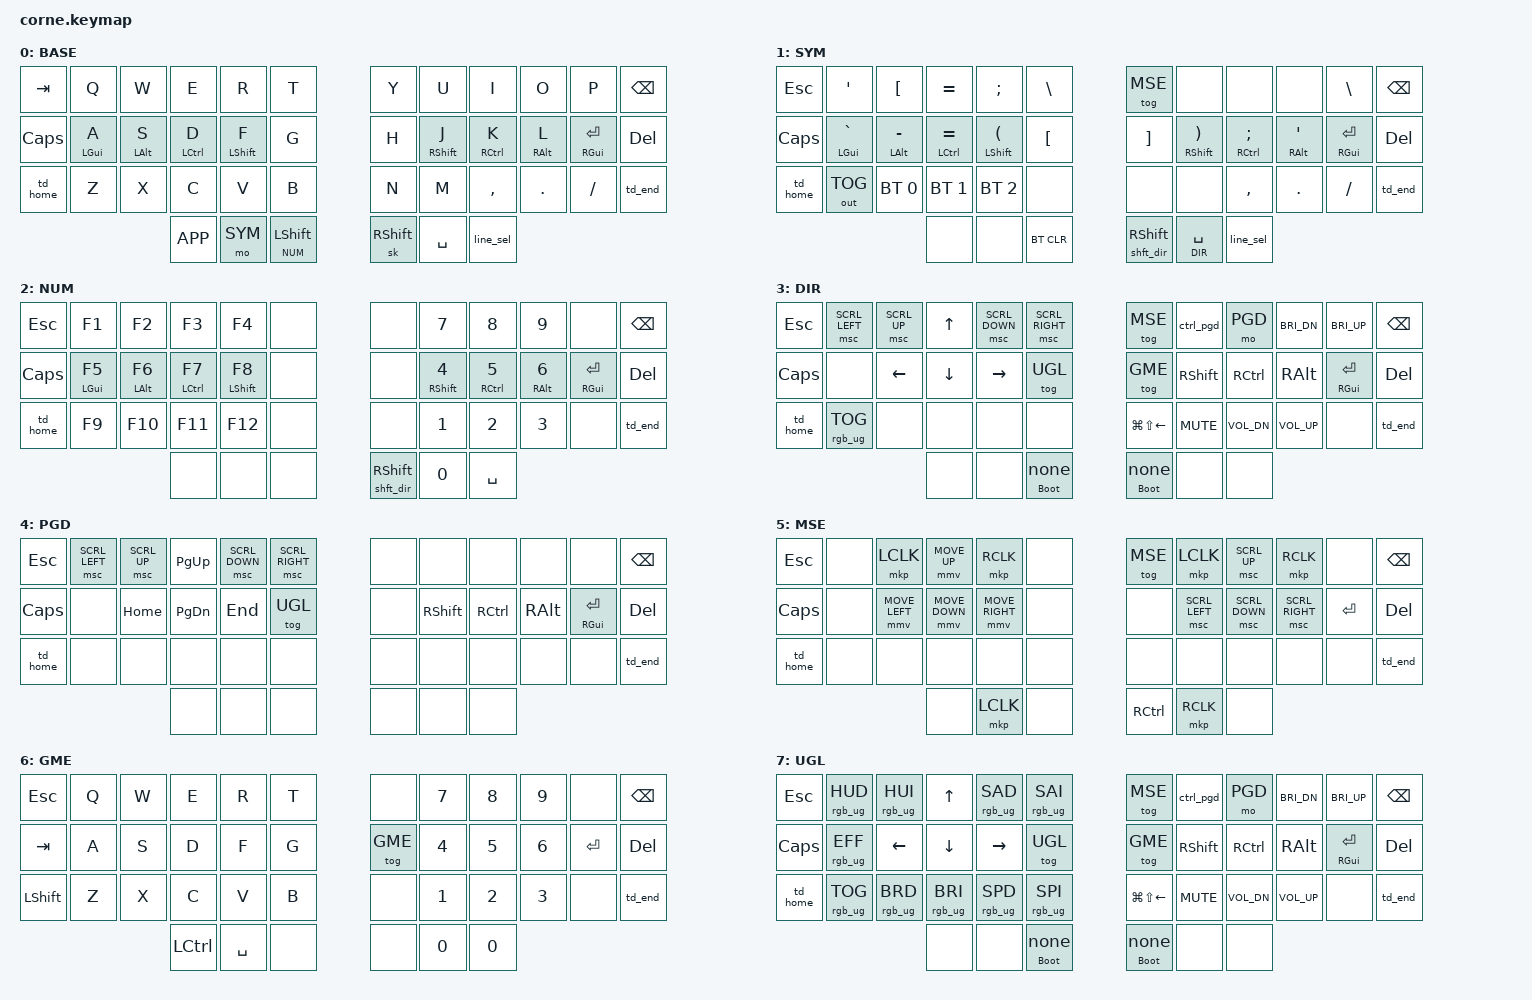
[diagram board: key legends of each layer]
/*
 * Copyright (c) 2020 The ZMK Contributors
 *
 * SPDX-License-Identifier: MIT
 */

#include <behaviors.dtsi>
#include <dt-bindings/zmk/keys.h>
#include <dt-bindings/zmk/bt.h>
#include <dt-bindings/zmk/rgb.h>
#include <dt-bindings/zmk/behaviors.h>
#include <dt-bindings/zmk/outputs.h>
#include <dt-bindings/zmk/ext_power.h>
#include <dt-bindings/zmk/pointing.h>

#define ZMK_POINTING_DEFAULT_MOVE_VAL 750
#define ZMK_POINTING_DEFAULT_SCRL_VAL 20

#define BASE 0 // base alpha layer
#define SYM 1 // symbol layer
#define NUM 2 // number and f-key layer
#define DIR 3 // direction/arrow key layer
#define PGD 4 // page direction layer
#define MSE 5 // mouse layer
#define GME 6 // game layer
#define UGL 7 // underglow layer

&led_strip {
        chain-length = <27>;
};

&mmv {
        x-input-code = <INPUT_REL_X>;
        y-input-code = <INPUT_REL_Y>;
        time-to-max-speed-ms = <750>;
        acceleration-exponent = <1>;
};

&sk {
        quick-release;
};


/ {

        behaviors {
                hml: home_row_mod_left {
                        compatible = "zmk,behavior-hold-tap";
                        #binding-cells = <2>;
                        flavor = "balanced";
                        require-prior-idle-ms = <150>;
                        tapping-term-ms = <280>;
                        quick-tap-ms = <175>;
                        bindings = <&kp>, <&kp>;
                        hold-trigger-key-positions = <6>, <7>, <8>, <9>, <10>, <11>, <18>, <19>, <20>, <21>, <22>, <23>, <30>, <31>, <32>, <33>, <34>, <35>, <36>, <37>, <38>, <39>, <40>, <41>; // List of keys on the right side of the keyboard
                        hold-trigger-on-release;
                };
                hmr: home_row_mod_right {
                        compatible = "zmk,behavior-hold-tap";
                        #binding-cells = <2>;
                        flavor = "balanced";
                        require-prior-idle-ms = <150>;
                        tapping-term-ms = <280>;
                        quick-tap-ms = <175>;
                        bindings = <&kp>, <&kp>;
                        hold-trigger-key-positions = <0>, <1>, <2>, <3>, <4>, <5>, <12>, <13>, <14>, <15>, <16>, <17>, <24>, <25>, <26>, <27>, <28>, <29>, <36>, <37>, <38>, <39>, <40>, <41>; // List of keys on the left side of the keyboard
                        hold-trigger-on-release;
                };
                hml_shift: home_row_mod_left_shift {
                        compatible = "zmk,behavior-hold-tap";
                        #binding-cells = <2>;
                        flavor = "balanced";
                        require-prior-idle-ms = <150>;
                        tapping-term-ms = <200>;
                        //quick-tap-ms = <175>;
                        bindings = <&kp>, <&kp>;
                        hold-trigger-key-positions = <6>, <7>, <8>, <9>, <10>, <11>, <18>, <19>, <20>, <21>, <22>, <23>, <30>, <31>, <32>, <33>, <34>, <35>;//, <36>, <37>, <38>, <39>, <40>, <41>; // List of keys on the right side of the keyboard
                        hold-trigger-on-release;
                };
                hmr_shift: home_row_mod_right_shift {
                        compatible = "zmk,behavior-hold-tap";
                        #binding-cells = <2>;
                        flavor = "balanced";
                        require-prior-idle-ms = <150>;
                        tapping-term-ms = <200>;
                        //quick-tap-ms = <175>;
                        bindings = <&kp>, <&kp>;
                        hold-trigger-key-positions = <0>, <1>, <2>, <3>, <4>, <5>, <12>, <13>, <14>, <15>, <16>, <17>, <24>, <25>, <26>, <27>, <28>, <29>;//, <36>, <37>, <38>, <39>, <40>, <41>; // List of keys on the left side of the keyboard
                        hold-trigger-on-release;
                };
                // home when pressed - uncomment macro when double tapped
                td_home: tap_dance_home {
                    compatible = "zmk,behavior-tap-dance";
                    #binding-cells = <0>;
                    tapping-term-ms = <200>;
                    bindings = <&kp HOME>, <&uncomment>;
                };
                // end when pressed - comment macro when double tapped
                td_end: tap_dance_end {
                    compatible = "zmk,behavior-tap-dance";
                    #binding-cells = <0>;
                    tapping-term-ms = <200>;
                    bindings = <&kp END>, <&comment>;
                };
                // must hold key for 5 seconds to enter bootloader mode
                ht_bootloader: hold_tap_bootloader {
                    compatible = "zmk,behavior-hold-tap";
                    #binding-cells = <2>;
                    flavor = "tap-preferred";
                    tapping-term-ms = <5000>;
                    bindings = <&bootloader>, <&none>;
                    display-name = "Hold-Tap-Bootloader";
                };
                // layer when held, sticky shift when tapped
                lt_sticky: layer_tap_sticky {
                    compatible = "zmk,behavior-hold-tap";
                    #binding-cells = <2>;
                    flavor = "balanced";
                    require-prior-idle-ms = <50>;
                    tapping-term-ms = <150>;
                    bindings = <&mo>, <&sk>;
                    display-name = "Layer-Tap-Sticky";
                };
                // shft_dir macro when held, sticky key when tapped
                lt_shft_dir_sticky: layer_tap_shft_dir_sticky {
                    compatible = "zmk,behavior-hold-tap";
                    #binding-cells = <2>;
                    flavor = "balanced";
                    require-prior-idle-ms = <100>;
                    tapping-term-ms = <200>;
                    bindings = <&shft_dir>, <&sk>;
                    display-name = "Layer-Tap-Shft-Dir-Sticky";
                };
        };

        macros {
                // macro to use command mode to comment a selection in SSMS/VSCode
                comment: comment {
                        compatible = "zmk,behavior-macro";
                        #binding-cells = <0>;
                        bindings
                                = <&macro_press &kp LCTRL>
                                , <&macro_tap &kp K &kp C>
                                , <&macro_release &kp LCTRL>
                                ;
                };

                // macro to use command mode to uncomment a selection in SSMS/VSCode
                uncomment: uncomment {
                        compatible = "zmk,behavior-macro";
                        #binding-cells = <0>;
                        bindings
                                = <&macro_press &kp LCTRL>
                                , <&macro_tap &kp K &kp U>
                                , <&macro_release &kp LCTRL>
                                ;
                };

                // macro to switch to direction layer while holding shift to allow easy selection
                shft_dir: shft_dir {
                        compatible = "zmk,behavior-macro";
                        #binding-cells = <0>;
                        bindings
                                = <&macro_press &kp LSHFT>
                                , <&macro_press &mo DIR>
                                , <&macro_pause_for_release>
                                , <&macro_release &mo DIR>
                                , <&macro_release &kp LSHFT>
                                ;
                };

                // macro to switch to page direction layer while holding control
                ctrl_pgd: ctrl_pgd {
                        compatible = "zmk,behavior-macro";
                        #binding-cells = <0>;
                        bindings
                                = <&macro_press &kp LCTRL>
                                , <&macro_press &mo PGD>
                                , <&macro_pause_for_release>
                                , <&macro_release &mo PGD>
                                , <&macro_release &kp LCTRL>
                                ;
                };

                // macro to select a full line
                line_sel: line_sel {
                        compatible = "zmk,behavior-macro";
                        #binding-cells = <0>;
                        bindings
                                = <&macro_tap &kp END>
                                , <&macro_press &kp LSHFT>
                                , <&macro_tap &kp HOME>
                                , <&macro_release &kp LSHFT>
                                ;
                };
        };

        // pretty format template
        // ╭─────────────┬─────────────┬─────────────┬─────────────┬─────────────┬─────────────╮   ╭─────────────┬─────────────┬─────────────┬─────────────┬─────────────┬─────────────╮

        // ├─────────────┼─────────────┼─────────────┼─────────────┼─────────────┼─────────────┤   ├─────────────┼─────────────┼─────────────┼─────────────┼─────────────┼─────────────┤

        // ├─────────────┼─────────────┼─────────────┼─────────────┼─────────────┼─────────────┤   ├─────────────┼─────────────┼─────────────┼─────────────┼─────────────┼─────────────┤

        // ╰─────────────┴─────────────┴─────────────┼─────────────┼─────────────┼─────────────┤   ├─────────────┼─────────────┼─────────────┼─────────────┴─────────────┴─────────────╯

        //                                           ╰─────────────┴─────────────┴─────────────╯   ╰─────────────┴─────────────┴─────────────╯
        
        keymap {
                compatible = "zmk,keymap";

                default_layer {
                        display-name = "BASE";
// -----------------------------------------------------------------------------------------
// | TAB   |  Q  |  W  |  E  |  R  |  T  |       |  Y   |  U   |  I  |  O  |  P  | BSPC |
// | CAPS  |  A  |  S  |  D  |  F  |  G  | ----- |  H   |  J   |  K  |  L  | RET | DEL  |
// | HOME  |  Z  |  X  |  C  |  V  |  B  |       |  N   |  M   |  ,  |  .  |  /  | END  |
//                     |     | SYM | NUM |       | SHDR | SPC  | SEL |
                        bindings = <
        // ╭─────────────┬─────────────┬─────────────┬─────────────┬──────────────┬─────────────────────╮   ╭─────────────┬───────────────────┬─────────────┬─────────────┬─────────────┬─────────────╮
             &kp TAB       &kp Q         &kp W         &kp E         &kp R          &kp T                     &kp Y         &kp U               &kp I         &kp O         &kp P          &kp BSPC
        // ├─────────────┼─────────────┼─────────────┼─────────────┼──────────────┼─────────────────────┤   ├─────────────┼───────────────────┼─────────────┼─────────────┼─────────────┼─────────────┤
             &kp CAPS      &hml LGUI A   &hml LALT S   &hml LCTRL D  &hml LSHFT F   &kp G                     &kp H         &hmr RSHFT J        &hmr RCTRL K  &hmr RALT L   &hmr RGUI RET  &kp DEL
        // ├─────────────┼─────────────┼─────────────┼─────────────┼──────────────┼─────────────────────┤   ├─────────────┼───────────────────┼─────────────┼─────────────┼─────────────┼─────────────┤
             &td_home      &kp Z         &kp X         &kp C         &kp V          &kp B                     &kp N         &kp M               &kp COMMA     &kp DOT       &kp FSLH       &td_end
        // ╰─────────────┴─────────────┴─────────────┼─────────────┼──────────────┼─────────────────────┤   ├─────────────┼───────────────────┼─────────────┼─────────────┴─────────────┴─────────────╯
                                                       &kp K_APP     &mo SYM        &lt_sticky NUM LSHFT      &sk RSHFT     &kp SPACE           &line_sel
        //                                           ╰─────────────┴──────────────┴─────────────────────╯   ╰─────────────┴───────────────────┴─────────────╯    
                        >;
                };
                symbol_layer {
                        display-name = "SYM";
// -----------------------------------------------------------------------------------------
// | ESC  |  '   |  [  |  =  |  ;  |  \  |       |      |     |     |     |  \  | BSPC |
// | CAPS |  `   |  -  |  =  |  (  |  [  | ----- |  ]   |  )  |  ;  |  '  | RET | DEL  |
// | SHFT |OUTTOG| BT0 | BT1 | BT2 |     |       |      |     |  ,  |  .  |  /  | SHFT |
//                     |     | N/A |BTCLR|       | SHFT | DIR | ALT |
                        bindings = <
   // unicode options that didn't work as well
   //&kp ESC   &uc UC_LATIN_LETTER_A_WITH_GRAVE &uc UC_LATIN_LETTER_E_WITH_GRAVE &uc UC_LATIN_LETTER_I_WITH_GRAVE &uc UC_LATIN_LETTER_O_WITH_GRAVE &uc UC_LATIN_LETTER_U_WITH_GRAVE          &none           &uc UC_LATIN_LETTER_E_WITH_ACUTE &none           &none         &kp BSLH      &kp BSPC
   
        // ╭─────────────┬────────────────┬────────────────┬─────────────────┬──────────────────────┬─────────────╮   ╭────────────────────────────┬──────────────────────┬────────────────┬──────────────┬──────────────┬─────────────╮
             &kp ESC       &kp SQT          &kp LBKT         &kp EQUAL         &kp SEMI               &kp BSLH          &tog MSE                     &none                  &none            &none          &kp BSLH       &kp BSPC
        // ├─────────────┼────────────────┼────────────────┼─────────────────┼──────────────────────┼─────────────┤   ├────────────────────────────┼──────────────────────┼────────────────┼──────────────┼──────────────┼─────────────┤
             &kp CAPS      &hml LGUI GRAVE  &hml LALT MINUS  &hml LCTRL EQUAL  &hml LSHFT LPAR        &kp LBKT          &kp RBKT                     &hmr RSHFT RPAR        &hmr RCTRL SEMI  &hmr RALT SQT  &hmr RGUI RET  &kp DEL
        // ├─────────────┼────────────────┼────────────────┼─────────────────┼──────────────────────┼─────────────┤   ├────────────────────────────┼──────────────────────┼────────────────┼──────────────┼──────────────┼─────────────┤
             &td_home      &out OUT_TOG     &bt BT_SEL 0     &bt BT_SEL 1      &bt BT_SEL 2           &none             &none                        &none                  &kp COMMA        &kp DOT        &kp FSLH       &td_end 
        // ╰─────────────┴────────────────┴────────────────┼─────────────────┼──────────────────────┼─────────────┤   ├────────────────────────────┼──────────────────────┼────────────────┼──────────────┴──────────────┴─────────────╯
                                                             &none             &none                  &bt BT_CLR        &lt_shft_dir_sticky 0 RSHFT  &lt DIR SPACE          &line_sel
        //                                                 ╰─────────────────┴──────────────────────┴─────────────╯   ╰────────────────────────────┴──────────────────────┴────────────────╯
                        >;
                };

                number_layer {
                        display-name = "NUM";
// -----------------------------------------------------------------------------------------
// | ESC  |     | F1  | F2  | F3  | F4  |       |      |  7  |  8  |  9  |     | BSPC |
// | CAPS |     | F5  | F6  | F7  | F8  | ----- |      |  4  |  5  |  6  | RET | DEL  |
// | SHFT |     | F9  | F10 | F11 | F12 |       |      |  1  |  2  |  3  |     | SHFT |
//                    |     |     |     |       | SHFT |  0  |  0  |
                        bindings = <

        // ╭─────────────┬─────────────┬─────────────┬──────────────┬──────────────┬─────────────╮   ╭────────────────────────────┬────────────────────┬──────────────┬─────────────┬──────────────┬─────────────╮
             &kp ESC       &kp F1        &kp F2        &kp F3         &kp F4         &none             &none                        &kp N7               &kp N8         &kp N9        &none          &kp BSPC
        // ├─────────────┼─────────────┼─────────────┼──────────────┼──────────────┼─────────────┤   ├────────────────────────────┼────────────────────┼──────────────┼─────────────┼──────────────┼─────────────┤
             &kp CAPS      &hml LGUI F5  &hml LALT F6  &hml LCTRL F7  &hml LSHFT F8  &none             &none                        &hmr RSHFT N4        &hmr RCTRL N5  &hmr RALT N6  &hmr RGUI RET  &kp DEL
        // ├─────────────┼─────────────┼─────────────┼──────────────┼──────────────┼─────────────┤   ├────────────────────────────┼────────────────────┼──────────────┼─────────────┼──────────────┼─────────────┤
             &td_home      &kp F9        &kp F10       &kp F11        &kp F12        &none             &none                        &kp N1               &kp N2         &kp N3        &none          &td_end
        // ╰─────────────┴─────────────┴─────────────┼──────────────┼──────────────┼─────────────┤   ├────────────────────────────┼────────────────────┼──────────────┼─────────────┴──────────────┴─────────────╯
                                                       &none          &none          &none             &lt_shft_dir_sticky 0 RSHFT  &kp N0               &kp SPACE
        //                                           ╰──────────────┴──────────────┴─────────────╯   ╰────────────────────────────┴────────────────────┴──────────────╯
                        >;
                };

                direction_layer {
                        display-name = "DIR";
// -----------------------------------------------------------------------------------------
// | ESC  | SCLT | SCUP |  UP  | SCDN | SCRT |       | MSE   | CPGD | PGD   | CBRIDN| CBRIUP| BSPC |
// | CAPS |      | LEFT | DOWN | RGHT | SHFT | ----- | GME   | SHFT | CTRL  | ALT   | RET   | DEL  |
// | SHFT |RGBTOG|      |      |      |      |       | WINMV | MUTE | VOLUP | VOLDN | PLAY  | SHFT |
//                      |      |      | BTLD |       | BTLD  |      |       |
// WINMV is combination of shift, gui, and left arrow, which moves a window to another monitor

                        bindings = <

        // ╭─────────────┬────────────────┬────────────────┬──────────────────┬────────────────┬───────────────────╮   ╭───────────────────┬─────────────┬─────────────────┬─────────────┬──────────────┬─────────────╮
             &kp ESC       &msc SCRL_LEFT   &msc SCRL_UP     &kp UP             &msc SCRL_DOWN   &msc SCRL_RIGHT         &tog MSE            &ctrl_pgd     &mo PGD           &kp C_BRI_DN  &kp C_BRI_UP   &kp BSPC
        // ├─────────────┼────────────────┼────────────────┼──────────────────┼────────────────┼───────────────────┤   ├───────────────────┼─────────────┼─────────────────┼─────────────┼──────────────┼─────────────┤
             &kp CAPS      &none            &kp LEFT         &kp DOWN           &kp RIGHT        &tog UGL                &tog GME            &kp RSHFT     &kp RCTRL         &kp RALT      &hmr RGUI RET  &kp DEL
        // ├─────────────┼────────────────┼────────────────┼──────────────────┼────────────────┼───────────────────┤   ├───────────────────┼─────────────┼─────────────────┼─────────────┼──────────────┼─────────────┤
             &td_home      &rgb_ug RGB_TOG  &none            &none              &none            &none                   &kp LG(LS(LEFT))    &kp C_MUTE    &kp C_VOL_DN      &kp C_VOL_UP  &none          &td_end
        // ╰─────────────┴────────────────┴────────────────┼──────────────────┼────────────────┼───────────────────┤   ├───────────────────┼─────────────┼─────────────────┼─────────────┴──────────────┴─────────────╯
                                                             &none              &none            &ht_bootloader 0 0      &ht_bootloader 0 0  &none         &none
        //                                                 ╰──────────────────┴────────────────┴───────────────────╯   ╰───────────────────┴─────────────┴─────────────────╯
                        >;
                };

                pg_direction_layer {
                        display-name = "PGD";
// -----------------------------------------------------------------------------------------
// | ESC  | SCLT | SCUP | PGUP | SCDN | SCRT |       |       |      |      |     |     |      |
// | CAPS |      | HOME | PGDN | END  | UGL  | ----- |       | SHFT | CTRL | ALT | GUI |      |
// | SHFT |      |      |      |      |      |       |       |      |      |     |     |      |
//                      |      |      |      |       |       |      |      |

                        bindings = <
        // ╭─────────────┬───────────────┬───────────────┬─────────────┬────────────────┬────────────────╮   ╭─────────────┬─────────────┬─────────────┬─────────────┬──────────────┬─────────────╮
             &kp ESC       &msc SCRL_LEFT  &msc SCRL_UP    &kp PG_UP     &msc SCRL_DOWN   &msc SCRL_RIGHT      &none         &none         &none         &none         &none          &kp BSPC
        // ├─────────────┼───────────────┼───────────────┼─────────────┼────────────────┼────────────────┤   ├─────────────┼─────────────┼─────────────┼─────────────┼──────────────┼─────────────┤
             &kp CAPS      &none           &kp HOME        &kp PG_DN     &kp END          &tog UGL             &none         &kp RSHFT     &kp RCTRL     &kp RALT      &hmr RGUI RET  &kp DEL
        // ├─────────────┼───────────────┼───────────────┼─────────────┼────────────────┼────────────────┤   ├─────────────┼─────────────┼─────────────┼─────────────┼──────────────┼─────────────┤
             &td_home      &none           &none           &none         &none            &none                &none         &none         &none         &none         &none          &td_end
        // ╰─────────────┴───────────────┴───────────────┼─────────────┼────────────────┼────────────────┤   ├─────────────┼─────────────┼─────────────┼─────────────┴──────────────┴─────────────╯
                                                           &none         &none            &none                &none         &none         &none
        //                                               ╰─────────────┴────────────────┴────────────────╯   ╰─────────────┴─────────────┴─────────────╯
                        >;
                };

                mouse_layer {
                        display-name = "MSE";
// -----------------------------------------------------------------------------------------
// | ESC  |     | LMB | MUP | RMB |     |       | MSE | LMB | SCU | RMB |     | BSPC |
// | CAPS |     | MRT | MDN | MLT |     | ----- |     | SCL | SCD | SCR | RET | DEL  |
// | SHFT |     |     |     |     |     |       |     |     |     |     |     | SHFT |
//                    |     |     | LMB |       | RMB |     |     |
                        bindings = <
        // ╭─────────────┬─────────────┬───────────────┬───────────────┬────────────────┬─────────────╮   ╭─────────────┬───────────────┬───────────────┬────────────────┬─────────────┬─────────────╮
             &kp ESC       &none         &mkp LCLK       &mmv MOVE_UP    &mkp RCLK        &none             &tog MSE      &mkp LCLK       &msc SCRL_UP    &mkp RCLK        &none         &kp BSPC
        // ├─────────────┼─────────────┼───────────────┼───────────────┼────────────────┼─────────────┤   ├─────────────┼───────────────┼───────────────┼────────────────┼─────────────┼─────────────┤
             &kp CAPS      &none         &mmv MOVE_LEFT  &mmv MOVE_DOWN  &mmv MOVE_RIGHT  &none             &none         &msc SCRL_LEFT  &msc SCRL_DOWN  &msc SCRL_RIGHT  &kp RET       &kp DEL
        // ├─────────────┼─────────────┼───────────────┼───────────────┼────────────────┼─────────────┤   ├─────────────┼───────────────┼───────────────┼────────────────┼─────────────┼─────────────┤
             &td_home      &none         &none           &none           &none            &none             &none         &none           &none           &none            &none         &td_end
        // ╰─────────────┴─────────────┴───────────────┼───────────────┼────────────────┼─────────────┤   ├─────────────┼───────────────┼───────────────┼────────────────┴─────────────┴─────────────╯
                                                         &none           &mkp LCLK        &none             &kp RCTRL     &mkp RCLK       &none
        //                                             ╰───────────────┴────────────────┴─────────────╯   ╰─────────────┴───────────────┴───────────────╯
                        >;
                };

                game_layer {
                        display-name = "GME";
// -----------------------------------------------------------------------------------------
// | ESC  |  Q  |  W  |  E  |  R  |  T  |       |     |  7  |  8  |  9  |     | BSPC |
// | TAB  |  A  |  S  |  D  |  F  |  G  | ----- | BASE|  4  |  5  |  6  | RET | DEL  |
// | SHFT |  Z  |  X  |  C  |  V  |  B  |       |     |  1  |  2  |  3  |     | SHFT |
//                    |CTRL | SPC |     |       |     |  0  |  0  |
                        bindings = <
        // ╭─────────────┬─────────────┬─────────────┬─────────────┬─────────────┬─────────────╮   ╭─────────────┬─────────────┬─────────────┬─────────────┬─────────────┬─────────────╮
             &kp ESC       &kp Q         &kp W         &kp E         &kp R         &kp T             &none         &kp N7        &kp N8        &kp N9        &none         &kp BSPC
        // ├─────────────┼─────────────┼─────────────┼─────────────┼─────────────┼─────────────┤   ├─────────────┼─────────────┼─────────────┼─────────────┼─────────────┼─────────────┤
             &kp TAB       &kp A         &kp S         &kp D         &kp F         &kp G             &tog GME      &kp N4        &kp N5        &kp N6        &kp RET       &kp DEL
        // ├─────────────┼─────────────┼─────────────┼─────────────┼─────────────┼─────────────┤   ├─────────────┼─────────────┼─────────────┼─────────────┼─────────────┼─────────────┤
             &kp LSHFT     &kp Z         &kp X         &kp C         &kp V         &kp B             &none         &kp N1        &kp N2        &kp N3        &none         &td_end
        // ╰─────────────┴─────────────┴─────────────┼─────────────┼─────────────┼─────────────┤   ├─────────────┼─────────────┼─────────────┼─────────────┴─────────────┴─────────────╯
                                                       &kp LCTRL     &kp SPACE     &none             &none         &kp N0        &kp N0
        //                                           ╰─────────────┴─────────────┴─────────────╯   ╰─────────────┴─────────────┴─────────────╯
                        >;
                };

                underglow_layer {
                        display-name = "UGL";
// -----------------------------------------------------------------------------------------
// | ESC  |RGBHUD|RGBHUI|  UP  |RGBSAD|RGBSAI|       | MSE   | CPGD | PGD   | CBRIDN| CBRIUP| BSPC |
// | CAPS |RGBEFF| LEFT | DOWN | RGHT | UGL  | ----- | GME   | SHFT | CTRL  |   ALT |  RET  | DEL  |
// | SHFT |RGBTOG|RGBBRD|RGBBRI|RGBSPD|RGBSPI|       | WINMV | MUTE | VOLUP | VOLDN |       | SHFT |
//                      | EPOFF|      | BTLD |       | BTLD  |      | EPON  |

                        bindings = <

        // ╭─────────────┬────────────────┬────────────────┬──────────────────┬────────────────┬───────────────────╮   ╭───────────────────┬─────────────┬─────────────────┬─────────────┬──────────────┬─────────────╮
             &kp ESC       &rgb_ug RGB_HUD  &rgb_ug RGB_HUI  &kp UP             &rgb_ug RGB_SAD  &rgb_ug RGB_SAI         &tog MSE            &ctrl_pgd     &mo PGD           &kp C_BRI_DN  &kp C_BRI_UP   &kp BSPC
        // ├─────────────┼────────────────┼────────────────┼──────────────────┼────────────────┼───────────────────┤   ├───────────────────┼─────────────┼─────────────────┼─────────────┼──────────────┼─────────────┤
             &kp CAPS      &rgb_ug RGB_EFF  &kp LEFT         &kp DOWN           &kp RIGHT        &tog UGL                &tog GME            &kp RSHFT     &kp RCTRL         &kp RALT      &hmr RGUI RET  &kp DEL
        // ├─────────────┼────────────────┼────────────────┼──────────────────┼────────────────┼───────────────────┤   ├───────────────────┼─────────────┼─────────────────┼─────────────┼──────────────┼─────────────┤
             &td_home      &rgb_ug RGB_TOG  &rgb_ug RGB_BRD  &rgb_ug RGB_BRI    &rgb_ug RGB_SPD  &rgb_ug RGB_SPI         &kp LG(LS(LEFT))    &kp C_MUTE    &kp C_VOL_DN      &kp C_VOL_UP  &none          &td_end
        // ╰─────────────┴────────────────┴────────────────┼──────────────────┼────────────────┼───────────────────┤   ├───────────────────┼─────────────┼─────────────────┼─────────────┴──────────────┴─────────────╯
                                                             &none              &none            &ht_bootloader 0 0      &ht_bootloader 0 0  &none         &none
        //                                                 ╰──────────────────┴────────────────┴───────────────────╯   ╰───────────────────┴─────────────┴─────────────────╯
                        >;
                };
        };
};

